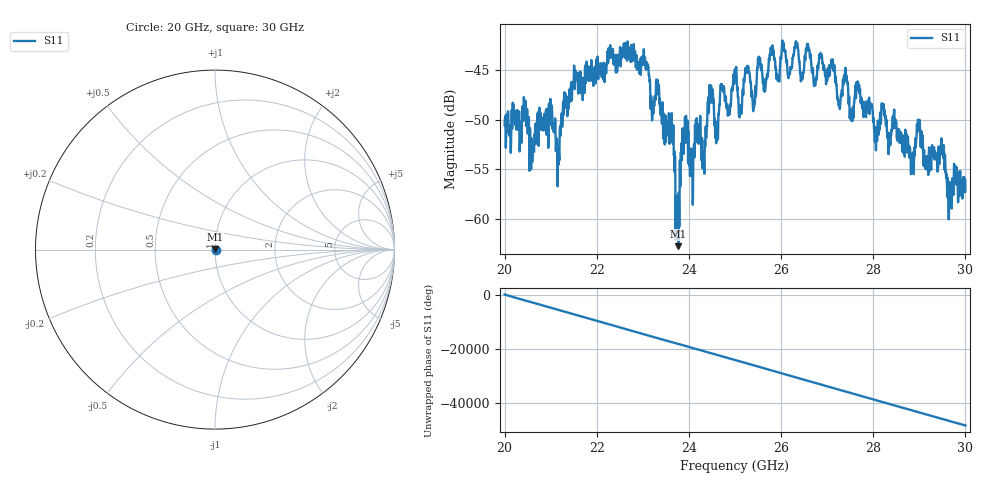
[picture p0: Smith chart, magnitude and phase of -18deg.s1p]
#  HZ  S  RI  R  50.00
! Rohde & Schwarz ZVA40 4Ports - Version 3.90 - 1145.1110k42 SN: 100403
! Date: 2023-10-03 12:31:34
! Measurement: S12
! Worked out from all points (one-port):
!   5001 points, 20 GHz to 30 GHz, reference 50 ohm
!   lowest |S11| = -62.8 dB at 23.77 GHz (marker M1), VSWR 1.00, Z = 50 + j0.0633 ohm
!   |S11| at or under -10 dB: start of sweep to end of sweep
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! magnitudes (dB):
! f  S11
! 20 GHz  -50.6
! 20.44 GHz  -49.2
! 20.59 GHz  -52.0
! 21.01 GHz  -48.9
! 21.15 GHz  -55.2
! 21.25 GHz  -50.7
! 21.54 GHz  -45.1
! 22.5 GHz  -43.3
! 23.33 GHz  -47.2
! 23.63 GHz  -51.6
! 23.75 GHz  -61.5
! 23.77 GHz  -62.8
! 23.9 GHz  -52.1
! 24.31 GHz  -53.3
! 24.46 GHz  -48.3
! 24.6 GHz  -51.5
! 25 GHz  -45.2
! 25.11 GHz  -49.1
! 25.26 GHz  -44.8
! 25.41 GHz  -48.5
! 25.53 GHz  -44.2
! 26.25 GHz  -43.8
! 27.12 GHz  -44.3
! 27.5 GHz  -48.9
! 27.66 GHz  -46.2
! 28.07 GHz  -51.4
! 28.75 GHz  -51.9
! 30 GHz  -56.1
